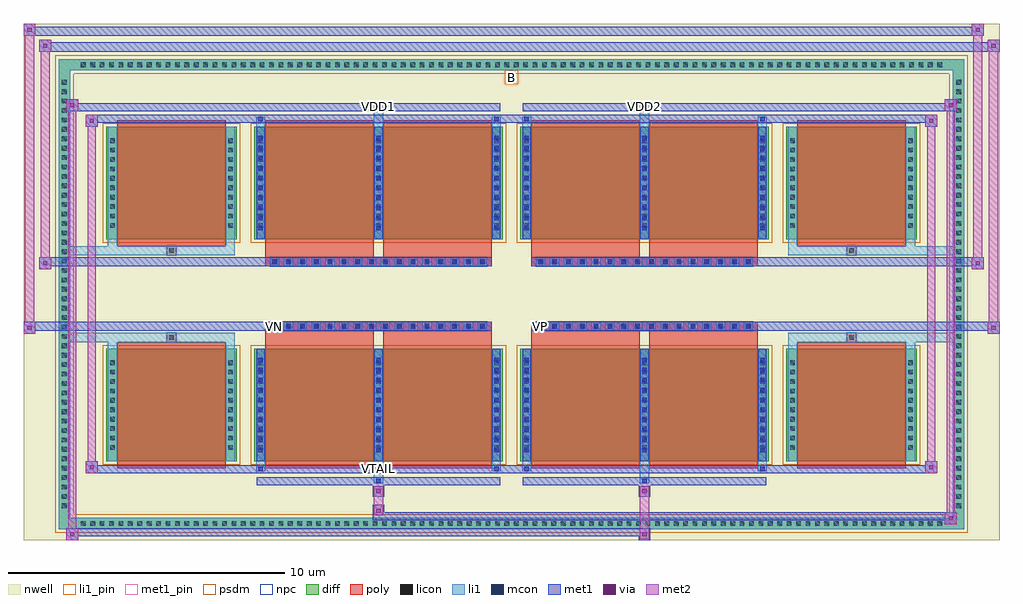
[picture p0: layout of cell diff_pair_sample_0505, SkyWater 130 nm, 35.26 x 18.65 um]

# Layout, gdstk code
import gdstk
lib = gdstk.Library(unit=1e-6, precision=5e-09)
def R(c, l, rs):  # rectangles x0, y0, x1, y1
    for r in rs: c.add(gdstk.rectangle(r[:2], r[2:], *l))
def A(c, l, x, y, w, h, nx, ny, dx, dy):  # array of equal rectangles
    R(c, l, [(x+i*dx, y+j*dy, x+i*dx+w, y+j*dy+h) for i in range(nx) for j in range(ny)])
def P(c, l, *ps):  # polygons
    for p in ps: c.add(gdstk.Polygon(p, *l))
nwell = (64, 20)
diff = (65, 20)
poly = (66, 20)
licon = (66, 44)
li1_pin = (67, 16)
li1 = (67, 20)
mcon = (67, 44)
met1_pin = (68, 16)
met1 = (68, 20)
via = (68, 44)
met2 = (69, 20)
psdm = (94, 20)
npc = (95, 20)

diff_pair_sample_0505 = lib.new_cell('diff_pair_sample_0505')
R(diff_pair_sample_0505, nwell, [(-17.63,-8.89,17.63,9.76), (-14.95,-7.08,-0.01,-0.8), (0.01,-7.08,14.95,-0.8), (-14.95,0.8,-0.01,7.08), (0.01,0.8,14.95,7.08)])
A(diff_pair_sample_0505, diff, -15.675, -8.49, 0.41, 0.41, 92, 2, 0.34, 16.57)
A(diff_pair_sample_0505, diff, -16.36, -7.855, 0.41, 0.41, 1, 46, 0, 0.34)
A(diff_pair_sample_0505, diff, 15.95, -7.855, 0.41, 0.41, 1, 46, 0, 0.34)
R(diff_pair_sample_0505, diff, [(-15.675,-8.49,15.675,-8.08), (-16.36,-7.855,-15.95,7.855), (15.95,-7.855,16.36,7.855), (-14.64,-6.035,-9.93,-1.985), (-9.29,-6.035,-0.32,-1.985), (0.32,-6.035,9.29,-1.985), (9.93,-6.035,14.64,-1.985), (-14.64,1.985,-9.93,6.035), (-9.29,1.985,-0.32,6.035), (0.32,1.985,9.29,6.035), (9.93,1.985,14.64,6.035), (-15.675,8.08,15.675,8.49)])
P(diff_pair_sample_0505, diff, [(16.36,8.49),(-16.36,8.49),(-16.36,-8.08),(-15.95,-8.08),(-15.95,8.08),(15.95,8.08),(15.95,-8.08),(-15.95,-8.08),(-16.36,-8.08),(-16.36,-8.49),(16.36,-8.49)])
A(diff_pair_sample_0505, poly, -8.72, -1.33, 0.33, 0.33, 16, 2, 0.5, 2.33)
A(diff_pair_sample_0505, poly, 0.89, -1.33, 0.33, 0.33, 16, 2, 0.5, 2.33)
R(diff_pair_sample_0505, poly, [(-14.25,-6.285,-10.32,-1.735), (-8.9,-6.285,-4.97,-1.735), (-4.64,-6.285,-0.71,-1.735), (0.71,-6.285,4.64,-1.735), (4.97,-6.285,8.9,-1.735), (10.32,-6.285,14.25,-1.735), (-12.45,-1.735,-12.12,-1.405), (-12.45,-1.735,-12.12,-1.405), (-8.9,-1.735,-4.97,-1.33), (-4.64,-1.735,-0.71,-1.33), (0.71,-1.735,4.64,-1.33), (4.97,-1.735,8.9,-1.33), (12.12,-1.735,12.45,-1.405), (12.12,-1.735,12.45,-1.405), (-8.9,-1.33,-0.71,-1), (0.71,-1.33,8.9,-1), (-8.9,1,-0.71,1.33), (0.71,1,8.9,1.33), (-8.9,1.33,-4.97,1.735), (-4.64,1.33,-0.71,1.735), (0.71,1.33,4.64,1.735), (4.97,1.33,8.9,1.735), (-12.45,1.405,-12.12,1.735), (-12.45,1.405,-12.12,1.735), (12.12,1.405,12.45,1.735), (12.12,1.405,12.45,1.735), (-14.25,1.735,-10.32,6.285), (-8.9,1.735,-4.97,6.285), (-4.64,1.735,-0.71,6.285), (0.71,1.735,4.64,6.285), (4.97,1.735,8.9,6.285), (10.32,1.735,14.25,6.285)])
A(diff_pair_sample_0505, licon, -15.555, -8.37, 0.17, 0.17, 92, 2, 0.34, 16.57)
A(diff_pair_sample_0505, licon, -16.24, -7.735, 0.17, 0.17, 1, 46, 0, 0.34)
A(diff_pair_sample_0505, licon, 16.07, -7.735, 0.17, 0.17, 1, 46, 0, 0.34)
A(diff_pair_sample_0505, licon, -14.5, -5.625, 0.17, 0.17, 1, 10, 0, 0.34)
A(diff_pair_sample_0505, licon, -10.24, -5.625, 0.17, 0.17, 1, 10, 0, 0.34)
A(diff_pair_sample_0505, licon, -9.15, -5.625, 0.17, 0.17, 3, 10, 4.26, 0.34)
A(diff_pair_sample_0505, licon, 0.46, -5.625, 0.17, 0.17, 3, 10, 4.26, 0.34)
A(diff_pair_sample_0505, licon, 10.07, -5.625, 0.17, 0.17, 1, 10, 0, 0.34)
A(diff_pair_sample_0505, licon, 14.33, -5.625, 0.17, 0.17, 1, 10, 0, 0.34)
A(diff_pair_sample_0505, licon, -8.64, -1.25, 0.17, 0.17, 16, 2, 0.5, 2.33)
A(diff_pair_sample_0505, licon, 0.97, -1.25, 0.17, 0.17, 16, 2, 0.5, 2.33)
A(diff_pair_sample_0505, licon, -14.5, 2.395, 0.17, 0.17, 1, 10, 0, 0.34)
A(diff_pair_sample_0505, licon, -10.24, 2.395, 0.17, 0.17, 1, 10, 0, 0.34)
A(diff_pair_sample_0505, licon, -9.15, 2.395, 0.17, 0.17, 3, 10, 4.26, 0.34)
A(diff_pair_sample_0505, licon, 0.46, 2.395, 0.17, 0.17, 3, 10, 4.26, 0.34)
A(diff_pair_sample_0505, licon, 10.07, 2.395, 0.17, 0.17, 1, 10, 0, 0.34)
A(diff_pair_sample_0505, licon, 14.33, 2.395, 0.17, 0.17, 1, 10, 0, 0.34)
R(diff_pair_sample_0505, licon, [(-12.37,-1.655,-12.2,-1.485), (12.2,-1.655,12.37,-1.485), (-12.37,1.485,-12.2,1.655), (12.2,1.485,12.37,1.655)])
R(diff_pair_sample_0505, li1_pin, [(-0.25,7.58,0.25,8.08)])
A(diff_pair_sample_0505, li1, -15.635, -8.45, 0.33, 0.33, 92, 2, 0.34, 16.57)
A(diff_pair_sample_0505, li1, -16.32, -7.815, 0.33, 0.33, 1, 46, 0, 0.34)
A(diff_pair_sample_0505, li1, 15.99, -7.815, 0.33, 0.33, 1, 46, 0, 0.34)
A(diff_pair_sample_0505, li1, -9.23, -6.035, 0.33, 4.05, 3, 2, 4.26, 8.02)
A(diff_pair_sample_0505, li1, 0.38, -6.035, 0.33, 4.05, 3, 2, 4.26, 8.02)
A(diff_pair_sample_0505, li1, -9.15, -5.715, 0.17, 0.17, 3, 10, 4.26, 0.36)
A(diff_pair_sample_0505, li1, -9.15, -5.715, 0.17, 3.41, 3, 2, 4.26, 8.02)
A(diff_pair_sample_0505, li1, 0.46, -5.715, 0.17, 0.17, 3, 10, 4.26, 0.36)
A(diff_pair_sample_0505, li1, 0.46, -5.715, 0.17, 3.41, 3, 2, 4.26, 8.02)
A(diff_pair_sample_0505, li1, -14.58, -5.705, 0.33, 0.33, 1, 10, 0, 0.34)
A(diff_pair_sample_0505, li1, -10.32, -5.705, 0.33, 0.33, 1, 10, 0, 0.34)
A(diff_pair_sample_0505, li1, -9.23, -5.705, 0.33, 0.33, 3, 10, 4.26, 0.34)
A(diff_pair_sample_0505, li1, 0.38, -5.705, 0.33, 0.33, 3, 10, 4.26, 0.34)
A(diff_pair_sample_0505, li1, 9.99, -5.705, 0.33, 0.33, 1, 10, 0, 0.34)
A(diff_pair_sample_0505, li1, 14.25, -5.705, 0.33, 0.33, 1, 10, 0, 0.34)
A(diff_pair_sample_0505, li1, -8.72, -1.33, 0.33, 0.33, 16, 2, 0.5, 2.33)
A(diff_pair_sample_0505, li1, 0.89, -1.33, 0.33, 0.33, 16, 2, 0.5, 2.33)
A(diff_pair_sample_0505, li1, -9.15, 2.305, 0.17, 0.17, 3, 10, 4.26, 0.36)
A(diff_pair_sample_0505, li1, 0.46, 2.305, 0.17, 0.17, 3, 10, 4.26, 0.36)
A(diff_pair_sample_0505, li1, -14.58, 2.315, 0.33, 0.33, 1, 10, 0, 0.34)
A(diff_pair_sample_0505, li1, -10.32, 2.315, 0.33, 0.33, 1, 10, 0, 0.34)
A(diff_pair_sample_0505, li1, -9.23, 2.315, 0.33, 0.33, 3, 10, 4.26, 0.34)
A(diff_pair_sample_0505, li1, 0.38, 2.315, 0.33, 0.33, 3, 10, 4.26, 0.34)
A(diff_pair_sample_0505, li1, 9.99, 2.315, 0.33, 0.33, 1, 10, 0, 0.34)
A(diff_pair_sample_0505, li1, 14.25, 2.315, 0.33, 0.33, 1, 10, 0, 0.34)
R(diff_pair_sample_0505, li1, [(-16.36,-8.49,-15.95,-8.08), (-16.36,-8.49,-15.95,-8.08), (-15.95,-8.49,15.95,-8.08), (15.95,-8.49,16.36,-8.08), (15.95,-8.49,16.36,-8.08), (-16.36,-8.08,-15.95,8.08), (15.95,-8.08,16.36,8.08), (-4.97,-6.84,-4.64,-6.035), (-4.89,-6.84,-4.72,-6.67), (4.64,-6.84,4.97,-6.035), (4.72,-6.84,4.89,-6.67), (-9.23,-6.41,-8.9,-6.035), (-9.15,-6.41,-8.98,-6.24), (-0.71,-6.41,-0.38,-6.035), (-0.63,-6.41,-0.46,-6.24), (0.38,-6.41,0.71,-6.035), (0.46,-6.41,0.63,-6.24), (8.9,-6.41,9.23,-6.035), (8.98,-6.41,9.15,-6.24), (-14.58,-6.035,-14.25,-1.985), (-10.32,-6.035,-9.99,-1.985), (9.99,-6.035,10.32,-1.985), (14.25,-6.035,14.58,-1.985), (-14.58,-1.985,-14.25,-1.405), (-10.32,-1.985,-9.99,-1.405), (9.99,-1.985,10.32,-1.405), (14.25,-1.985,14.58,-1.405), (-16.36,-1.735,-12.45,-1.405), (-14.58,-1.735,-12.45,-1.405), (-12.45,-1.735,-12.12,-1.405), (-12.12,-1.735,-9.99,-1.405), (9.99,-1.735,12.12,-1.405), (12.12,-1.735,12.45,-1.405), (12.12,-1.735,16.36,-1.405), (12.45,-1.735,14.58,-1.405), (-16.36,1.405,-12.45,1.735), (-14.58,1.405,-12.45,1.735), (-14.58,1.405,-14.25,1.985), (-12.45,1.405,-12.12,1.735), (-12.12,1.405,-9.99,1.735), (-10.32,1.405,-9.99,1.985), (9.99,1.405,12.12,1.735), (9.99,1.405,10.32,1.985), (12.12,1.405,12.45,1.735), (12.12,1.405,16.36,1.735), (12.45,1.405,14.58,1.735), (14.25,1.405,14.58,1.985), (-14.58,1.985,-14.25,6.035), (-10.32,1.985,-9.99,6.035), (9.99,1.985,10.32,6.035), (14.25,1.985,14.58,6.035), (-9.23,6.035,-8.9,6.41), (-4.97,6.035,-4.64,6.84), (-0.71,6.035,-0.38,6.41), (0.38,6.035,0.71,6.41), (4.64,6.035,4.97,6.84), (8.9,6.035,9.23,6.41), (-9.15,6.24,-8.98,6.41), (-0.63,6.24,-0.46,6.41), (0.46,6.24,0.63,6.41), (8.98,6.24,9.15,6.41), (-4.89,6.67,-4.72,6.84), (4.72,6.67,4.89,6.84), (-16.36,8.08,-15.95,8.49), (-16.36,8.08,-15.95,8.49), (-15.95,8.08,15.95,8.49), (15.95,8.08,16.36,8.49), (15.95,8.08,16.36,8.49)])
A(diff_pair_sample_0505, mcon, -9.15, -5.715, 0.17, 0.17, 3, 10, 4.26, 0.36)
A(diff_pair_sample_0505, mcon, 0.46, -5.715, 0.17, 0.17, 3, 10, 4.26, 0.36)
A(diff_pair_sample_0505, mcon, -8.64, -1.25, 0.17, 0.17, 16, 2, 0.5, 2.33)
A(diff_pair_sample_0505, mcon, 0.97, -1.25, 0.17, 0.17, 16, 2, 0.5, 2.33)
A(diff_pair_sample_0505, mcon, -9.15, 2.305, 0.17, 0.17, 3, 10, 4.26, 0.36)
A(diff_pair_sample_0505, mcon, 0.46, 2.305, 0.17, 0.17, 3, 10, 4.26, 0.36)
R(diff_pair_sample_0505, mcon, [(-4.89,-6.84,-4.72,-6.67), (4.72,-6.84,4.89,-6.67), (-9.15,-6.41,-8.98,-6.24), (-0.63,-6.41,-0.46,-6.24), (0.46,-6.41,0.63,-6.24), (8.98,-6.41,9.15,-6.24), (-9.15,6.24,-8.98,6.41), (-0.63,6.24,-0.46,6.41), (0.46,6.24,0.63,6.41), (8.98,6.24,9.15,6.41), (-4.89,6.67,-4.72,6.84), (4.72,6.67,4.89,6.84)])
R(diff_pair_sample_0505, met1_pin, [(-4.94,-6.45,-4.67,-6.18), (-8.69,-1.29,-8.42,-1.02), (0.92,-1.29,1.19,-1.02), (-4.94,6.63,-4.67,6.9), (4.67,6.63,4.94,6.9)])
A(diff_pair_sample_0505, met1, -9.21, -6.035, 0.29, 4.05, 3, 2, 4.26, 8.02)
A(diff_pair_sample_0505, met1, 0.4, -6.035, 0.29, 4.05, 3, 2, 4.26, 8.02)
A(diff_pair_sample_0505, met1, -9.21, -5.775, 0.29, 0.29, 3, 10, 4.26, 0.36)
A(diff_pair_sample_0505, met1, 0.4, -5.775, 0.29, 0.29, 3, 10, 4.26, 0.36)
A(diff_pair_sample_0505, met1, -8.7, -1.31, 0.29, 0.29, 16, 2, 0.5, 2.33)
A(diff_pair_sample_0505, met1, 0.91, -1.31, 0.29, 0.29, 16, 2, 0.5, 2.33)
A(diff_pair_sample_0505, met1, -9.21, 2.245, 0.29, 0.29, 3, 10, 4.26, 0.36)
A(diff_pair_sample_0505, met1, 0.4, 2.245, 0.29, 0.29, 3, 10, 4.26, 0.36)
R(diff_pair_sample_0505, met1, [(-16.09,-8.89,-15.66,-8.46), (4.59,-8.89,5.02,-8.46), (-16.09,-8.75,5.02,-8.46), (15.66,-8.32,16.09,-7.89), (-5.02,-8.18,16.09,-7.89), (-5.02,-8.04,-4.59,-7.61), (-5.02,-7.33,-4.59,-6.9), (4.59,-7.33,5.02,-6.9), (-9.21,-6.9,-0.4,-6.61), (-4.95,-6.9,-4.66,-6.61), (0.4,-6.9,9.21,-6.61), (4.66,-6.9,4.95,-6.61), (-15.38,-6.47,-14.95,-6.04), (-15.38,-6.47,-9.21,-6.18), (-9.21,-6.47,-8.92,-6.18), (-9.21,-6.47,-0.4,-6.18), (-0.69,-6.47,-0.4,-6.18), (-0.4,-6.47,0.4,-6.18), (0.4,-6.47,0.69,-6.18), (0.4,-6.47,9.21,-6.18), (8.92,-6.47,9.21,-6.18), (9.21,-6.47,15.38,-6.18), (14.95,-6.47,15.38,-6.04), (-17.63,-1.43,-17.2,-1), (17.2,-1.43,17.63,-1), (-17.63,-1.33,-0.71,-1), (-8.9,-1.33,-0.71,-1), (0.71,-1.33,8.9,-1), (0.71,-1.33,17.63,-1), (-17.06,0.9,-16.63,1.33), (16.63,0.9,17.06,1.33), (-17.06,1,-8.9,1.33), (-8.9,1,-0.71,1.33), (0.71,1,8.9,1.33), (8.9,1,17.06,1.33), (-15.38,6.04,-14.95,6.47), (14.95,6.04,15.38,6.47), (-15.38,6.18,-9.21,6.47), (-9.21,6.18,-8.92,6.47), (-9.21,6.18,-0.4,6.47), (-0.69,6.18,-0.4,6.47), (-0.4,6.18,0.4,6.47), (0.4,6.18,0.69,6.47), (0.4,6.18,9.21,6.47), (8.92,6.18,9.21,6.47), (9.21,6.18,15.38,6.47), (-16.09,6.61,-15.66,7.04), (-16.09,6.61,-9.21,6.9), (-9.21,6.61,-0.4,6.9), (-4.95,6.61,-4.66,6.9), (0.4,6.61,9.21,6.9), (4.66,6.61,4.95,6.9), (9.21,6.61,16.09,6.9), (15.66,6.61,16.09,7.04), (-17.06,8.76,-16.63,9.19), (-17.06,8.76,-14.95,9.09), (-14.95,8.76,14.95,9.09), (14.95,8.76,17.63,9.09), (17.2,8.76,17.63,9.19), (-17.63,9.33,-17.2,9.76), (-17.63,9.33,-14.95,9.66), (-14.95,9.33,14.95,9.66), (14.95,9.33,17.06,9.66), (16.63,9.33,17.06,9.76)])
R(diff_pair_sample_0505, via, [(-15.95,-8.75,-15.8,-8.6), (4.73,-8.75,4.88,-8.6), (15.8,-8.18,15.95,-8.03), (-4.88,-7.9,-4.73,-7.75), (-4.88,-7.19,-4.73,-7.04), (4.73,-7.19,4.88,-7.04), (-15.24,-6.33,-15.09,-6.18), (15.09,-6.33,15.24,-6.18), (-17.49,-1.29,-17.34,-1.14), (17.34,-1.29,17.49,-1.14), (-16.92,1.04,-16.77,1.19), (16.77,1.04,16.92,1.19), (-15.24,6.18,-15.09,6.33), (15.09,6.18,15.24,6.33), (-15.95,6.75,-15.8,6.9), (15.8,6.75,15.95,6.9), (-16.92,8.9,-16.77,9.05), (17.34,8.9,17.49,9.05), (-17.49,9.47,-17.34,9.62), (16.77,9.47,16.92,9.62)])
R(diff_pair_sample_0505, met2, [(-16.09,-8.89,-15.66,-8.46), (-16.02,-8.89,-15.73,7.04), (-15.73,-8.89,-15.66,-8.46), (-16.04,-8.84,-15.71,-8.51), (4.64,-8.84,4.97,-8.51), (4.64,-8.51,4.97,-7.28), (15.66,-8.32,16.09,-7.89), (15.73,-8.32,16.02,7.04), (16.02,-8.32,16.09,-7.89), (15.71,-8.27,16.04,-7.94), (-4.97,-7.99,-4.64,-7.66), (-4.97,-7.66,-4.64,-7.28), (-4.97,-7.28,-4.64,-6.95), (4.64,-7.28,4.97,-6.95), (-15.38,-6.47,-14.95,-6.04), (-15.31,-6.47,-15.02,6.47), (-15.02,-6.47,-14.95,-6.04), (14.95,-6.47,15.38,-6.04), (15.02,-6.47,15.31,6.47), (15.31,-6.47,15.38,-6.04), (-15.33,-6.42,-15,-6.09), (15,-6.42,15.33,-6.09), (-17.63,-1.43,-17.2,-1), (-17.58,-1.43,-17.25,9.76), (-17.25,-1.43,-17.2,-1), (17.2,-1.43,17.63,-1), (17.25,-1.43,17.58,9.19), (17.58,-1.43,17.63,-1), (-17.58,-1.38,-17.25,-1.05), (17.25,-1.38,17.58,-1.05), (-17.06,0.9,-16.63,1.33), (-17.01,0.9,-16.68,9.19), (-16.68,0.9,-16.63,1.33), (16.63,0.9,17.06,1.33), (16.68,0.9,17.01,9.76), (17.01,0.9,17.06,1.33), (-17.01,0.95,-16.68,1.28), (16.68,0.95,17.01,1.28), (-15.38,6.04,-14.95,6.47), (-15.02,6.04,-14.95,6.47), (14.95,6.04,15.38,6.47), (15.31,6.04,15.38,6.47), (-15.33,6.09,-15,6.42), (15,6.09,15.33,6.42), (-16.09,6.61,-15.66,7.04), (-15.73,6.61,-15.66,7.04), (15.66,6.61,16.09,7.04), (16.02,6.61,16.09,7.04), (-16.04,6.66,-15.71,6.99), (15.71,6.66,16.04,6.99), (-17.06,8.76,-16.63,9.19), (-16.68,8.76,-16.63,9.19), (17.2,8.76,17.63,9.19), (17.58,8.76,17.63,9.19), (-17.01,8.81,-16.68,9.14), (17.25,8.81,17.58,9.14), (-17.63,9.33,-17.2,9.76), (-17.25,9.33,-17.2,9.76), (16.63,9.33,17.06,9.76), (17.01,9.33,17.06,9.76), (-17.58,9.38,-17.25,9.71), (16.68,9.38,17.01,9.71)])
R(diff_pair_sample_0505, psdm, [(-14.77,-6.165,-9.8,-1.855), (-9.42,-6.165,-0.19,-1.855), (0.19,-6.165,9.42,-1.855), (9.8,-6.165,14.77,-1.855), (-14.77,1.855,-9.8,6.165), (-9.42,1.855,-0.19,6.165), (0.19,1.855,9.42,6.165), (9.8,1.855,14.77,6.165)])
P(diff_pair_sample_0505, psdm, [(16.49,8.62),(-16.49,8.62),(-16.49,-7.95),(-15.82,-7.95),(-15.82,7.95),(15.82,7.95),(15.82,-7.95),(-15.82,-7.95),(-16.49,-7.95),(-16.49,-8.62),(16.49,-8.62)])
A(diff_pair_sample_0505, npc, -8.74, -1.35, 0.37, 0.37, 16, 2, 0.5, 2.33)
A(diff_pair_sample_0505, npc, 0.87, -1.35, 0.37, 0.37, 16, 2, 0.5, 2.33)
R(diff_pair_sample_0505, npc, [(-12.47,-1.755,-12.1,-1.385), (12.1,-1.755,12.47,-1.385), (-8.74,-1.35,-7.87,-0.98), (-8.74,-1.35,-7.87,-0.98), (-8.24,-1.35,-7.37,-0.98), (-8.24,-1.35,-7.37,-0.98), (-7.74,-1.35,-6.87,-0.98), (-7.74,-1.35,-6.87,-0.98), (-7.24,-1.35,-6.37,-0.98), (-7.24,-1.35,-6.37,-0.98), (-6.74,-1.35,-5.87,-0.98), (-6.74,-1.35,-5.87,-0.98), (-6.24,-1.35,-5.37,-0.98), (-6.24,-1.35,-5.37,-0.98), (-5.74,-1.35,-4.87,-0.98), (-5.74,-1.35,-4.87,-0.98), (-5.24,-1.35,-4.37,-0.98), (-5.24,-1.35,-4.37,-0.98), (-4.74,-1.35,-3.87,-0.98), (-4.74,-1.35,-3.87,-0.98), (-4.24,-1.35,-3.37,-0.98), (-4.24,-1.35,-3.37,-0.98), (-3.74,-1.35,-2.87,-0.98), (-3.74,-1.35,-2.87,-0.98), (-3.24,-1.35,-2.37,-0.98), (-3.24,-1.35,-2.37,-0.98), (-2.74,-1.35,-1.87,-0.98), (-2.74,-1.35,-1.87,-0.98), (-2.24,-1.35,-1.37,-0.98), (-2.24,-1.35,-1.37,-0.98), (-1.74,-1.35,-0.87,-0.98), (-1.74,-1.35,-0.87,-0.98), (0.87,-1.35,1.74,-0.98), (0.87,-1.35,1.74,-0.98), (1.37,-1.35,2.24,-0.98), (1.37,-1.35,2.24,-0.98), (1.87,-1.35,2.74,-0.98), (1.87,-1.35,2.74,-0.98), (2.37,-1.35,3.24,-0.98), (2.37,-1.35,3.24,-0.98), (2.87,-1.35,3.74,-0.98), (2.87,-1.35,3.74,-0.98), (3.37,-1.35,4.24,-0.98), (3.37,-1.35,4.24,-0.98), (3.87,-1.35,4.74,-0.98), (3.87,-1.35,4.74,-0.98), (4.37,-1.35,5.24,-0.98), (4.37,-1.35,5.24,-0.98), (4.87,-1.35,5.74,-0.98), (4.87,-1.35,5.74,-0.98), (5.37,-1.35,6.24,-0.98), (5.37,-1.35,6.24,-0.98), (5.87,-1.35,6.74,-0.98), (5.87,-1.35,6.74,-0.98), (6.37,-1.35,7.24,-0.98), (6.37,-1.35,7.24,-0.98), (6.87,-1.35,7.74,-0.98), (6.87,-1.35,7.74,-0.98), (7.37,-1.35,8.24,-0.98), (7.37,-1.35,8.24,-0.98), (7.87,-1.35,8.74,-0.98), (7.87,-1.35,8.74,-0.98), (-8.74,0.98,-7.87,1.35), (-8.74,0.98,-7.87,1.35), (-8.24,0.98,-7.37,1.35), (-8.24,0.98,-7.37,1.35), (-7.74,0.98,-6.87,1.35), (-7.74,0.98,-6.87,1.35), (-7.24,0.98,-6.37,1.35), (-7.24,0.98,-6.37,1.35), (-6.74,0.98,-5.87,1.35), (-6.74,0.98,-5.87,1.35), (-6.24,0.98,-5.37,1.35), (-6.24,0.98,-5.37,1.35), (-5.74,0.98,-4.87,1.35), (-5.74,0.98,-4.87,1.35), (-5.24,0.98,-4.37,1.35), (-5.24,0.98,-4.37,1.35), (-4.74,0.98,-3.87,1.35), (-4.74,0.98,-3.87,1.35), (-4.24,0.98,-3.37,1.35), (-4.24,0.98,-3.37,1.35), (-3.74,0.98,-2.87,1.35), (-3.74,0.98,-2.87,1.35), (-3.24,0.98,-2.37,1.35), (-3.24,0.98,-2.37,1.35), (-2.74,0.98,-1.87,1.35), (-2.74,0.98,-1.87,1.35), (-2.24,0.98,-1.37,1.35), (-2.24,0.98,-1.37,1.35), (-1.74,0.98,-0.87,1.35), (-1.74,0.98,-0.87,1.35), (0.87,0.98,1.74,1.35), (0.87,0.98,1.74,1.35), (1.37,0.98,2.24,1.35), (1.37,0.98,2.24,1.35), (1.87,0.98,2.74,1.35), (1.87,0.98,2.74,1.35), (2.37,0.98,3.24,1.35), (2.37,0.98,3.24,1.35), (2.87,0.98,3.74,1.35), (2.87,0.98,3.74,1.35), (3.37,0.98,4.24,1.35), (3.37,0.98,4.24,1.35), (3.87,0.98,4.74,1.35), (3.87,0.98,4.74,1.35), (4.37,0.98,5.24,1.35), (4.37,0.98,5.24,1.35), (4.87,0.98,5.74,1.35), (4.87,0.98,5.74,1.35), (5.37,0.98,6.24,1.35), (5.37,0.98,6.24,1.35), (5.87,0.98,6.74,1.35), (5.87,0.98,6.74,1.35), (6.37,0.98,7.24,1.35), (6.37,0.98,7.24,1.35), (6.87,0.98,7.74,1.35), (6.87,0.98,7.74,1.35), (7.37,0.98,8.24,1.35), (7.37,0.98,8.24,1.35), (7.87,0.98,8.74,1.35), (7.87,0.98,8.74,1.35), (-12.47,1.385,-12.1,1.755), (12.1,1.385,12.47,1.755)])
diff_pair_sample_0505.add(gdstk.Label('VTAIL', (-4.805,-6.315), layer=68, texttype=5))
diff_pair_sample_0505.add(gdstk.Label('VN', (-8.555,-1.155), layer=68, texttype=5))
diff_pair_sample_0505.add(gdstk.Label('VP', (1.055,-1.155), layer=68, texttype=5))
diff_pair_sample_0505.add(gdstk.Label('B', (0,7.83), layer=67, texttype=5))
diff_pair_sample_0505.add(gdstk.Label('VDD2', (4.805,6.765), layer=68, texttype=5))
diff_pair_sample_0505.add(gdstk.Label('VDD1', (-4.805,6.765), layer=68, texttype=5))

lib.write_gds('diff_pair_sample_0505.gds')
